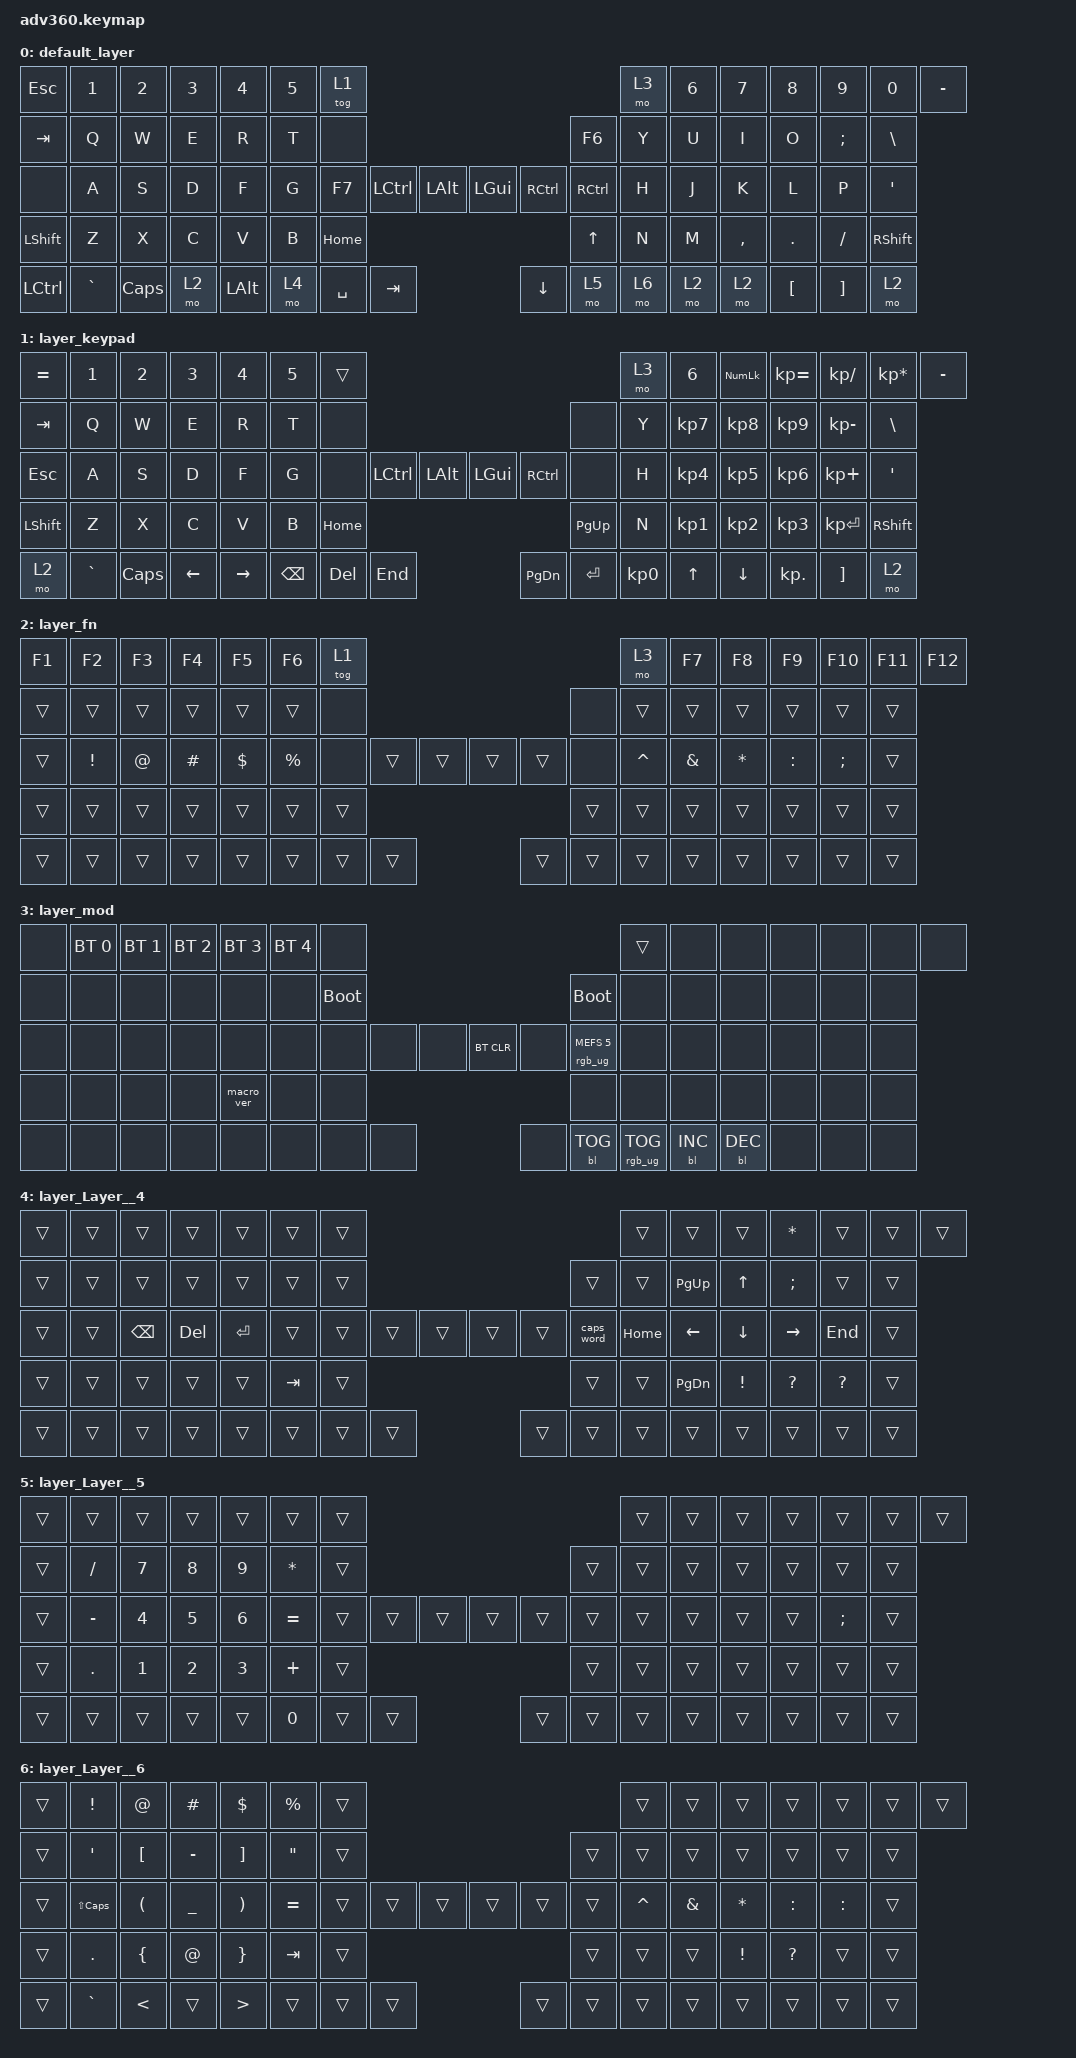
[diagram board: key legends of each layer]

/*
 * Copyright (c) 2020 The ZMK Contributors
 *
 * SPDX-License-Identifier: MIT
 */


/* THIS FILE WAS GENERATED!
 *
 * This file was generated automatically. You may or may not want to
 * edit it directly.
 */

#include <behaviors.dtsi>
#include <dt-bindings/zmk/keys.h>
#include <dt-bindings/zmk/bt.h>
#include <dt-bindings/zmk/rgb.h>
#include <dt-bindings/zmk/backlight.h>

/ {
  behaviors {
    #include "macros.dtsi"
    #include "version.dtsi"

    hm: homerow_mods {
        compatible = "zmk,behavior-hold-tap";
        label = "HOMEROW_MODS";
        #binding-cells = <2>;
        tapping-term-ms = <200>;
        quick_tap_ms = <175>;
        flavor = "tap-preferred";
        bindings = <&kp>, <&kp>;
    };
  };

    keymap {
        compatible = "zmk,keymap";


        default_layer {
            bindings = <
          &kp ESC     &kp N1    &kp N2  &kp N3        &kp N4  &kp N5            &tog 1                                                                &mo 3  &kp N6  &kp N7     &kp N8    &kp N9         &kp N0  &kp MINUS
          &kp TAB      &kp Q     &kp W   &kp E         &kp R   &kp T             &none                                                               &kp F6   &kp Y   &kp U      &kp I     &kp O  &kp SEMICOLON   &kp BSLH
            &none      &kp A     &kp S   &kp D         &kp F   &kp G            &kp F7  &kp LCTRL  &kp LALT                  &kp LGUI  &kp RCTRL  &kp RCTRL   &kp H   &kp J      &kp K     &kp L          &kp P    &kp SQT
        &kp LSHFT      &kp Z     &kp X   &kp C         &kp V   &kp B                               &kp HOME                    &kp UP                         &kp N   &kp M  &kp COMMA   &kp DOT       &kp FSLH  &kp RSHFT
 &kp LEFT_CONTROL  &kp GRAVE  &kp CAPS   &mo 2  &kp LEFT_ALT                     &mo 4  &kp SPACE   &kp TAB                  &kp DOWN      &mo 5      &mo 6           &mo 2      &mo 2  &kp LBKT       &kp RBKT      &mo 2
            >;
        };

        layer_keypad {
            bindings = <
 &kp EQUAL     &kp N1    &kp N2    &kp N3     &kp N4  &kp N5              &trans                                                                 &mo 3  &kp N6  &kp KP_NUM  &kp KP_EQUAL  &kp KP_DIVIDE  &kp KP_MULTIPLY  &kp MINUS
   &kp TAB      &kp Q     &kp W     &kp E      &kp R   &kp T               &none                                                                 &none   &kp Y   &kp KP_N7     &kp KP_N8      &kp KP_N9     &kp KP_MINUS   &kp BSLH
   &kp ESC      &kp A     &kp S     &kp D      &kp F   &kp G               &none  &kp LCTRL  &kp LALT                   &kp LGUI  &kp RCTRL      &none   &kp H   &kp KP_N4     &kp KP_N5      &kp KP_N6      &kp KP_PLUS    &kp SQT
 &kp LSHFT      &kp Z     &kp X     &kp C      &kp V   &kp B                                 &kp HOME                  &kp PG_UP                         &kp N   &kp KP_N1     &kp KP_N2      &kp KP_N3     &kp KP_ENTER  &kp RSHFT
     &mo 2  &kp GRAVE  &kp CAPS  &kp LEFT  &kp RIGHT                    &kp BSPC    &kp DEL   &kp END                  &kp PG_DN  &kp ENTER  &kp KP_N0              &kp UP      &kp DOWN     &kp KP_DOT         &kp RBKT      &mo 2
            >;
        };

        layer_fn {
            bindings = <
 &kp F1           &kp F2       &kp F3    &kp F4      &kp F5       &kp F6            &tog 1                                                   &mo 3     &kp F7         &kp F8        &kp F9    &kp F10        &kp F11  &kp F12
 &trans           &trans       &trans    &trans      &trans       &trans             &none                                                   &none     &trans         &trans        &trans     &trans         &trans   &trans
 &trans  &kp EXCLAMATION  &kp AT_SIGN  &kp HASH  &kp DOLLAR  &kp PERCENT             &none  &trans  &trans                  &trans  &trans   &none  &kp CARET  &kp AMPERSAND  &kp ASTERISK  &kp COLON  &kp SEMICOLON   &trans
 &trans           &trans       &trans    &trans      &trans       &trans                            &trans                  &trans                     &trans         &trans        &trans     &trans         &trans   &trans
 &trans           &trans       &trans    &trans      &trans                         &trans  &trans  &trans                  &trans  &trans  &trans                    &trans        &trans     &trans         &trans   &trans
            >;
        };

        layer_mod {
            bindings = <
  &none  &bt BT_SEL 0  &bt BT_SEL 1  &bt BT_SEL 2  &bt BT_SEL 3  &bt BT_SEL 4                  &none                                                                          &trans   &none       &none       &none   &none   &none   &none
  &none         &none         &none         &none         &none         &none            &bootloader                                                                     &bootloader   &none       &none       &none   &none   &none   &none
  &none         &none         &none         &none         &none         &none                  &none   &none   &none                  &bt BT_CLR       &none  &rgb_ug RGB_MEFS_CMD 5   &none       &none       &none   &none   &none   &none
  &none         &none         &none         &none    &macro_ver         &none                                  &none                       &none                                       &none       &none       &none   &none   &none   &none
  &none         &none         &none         &none         &none                                &none   &none   &none                       &none  &bl BL_TOG         &rgb_ug RGB_TOG          &bl BL_INC  &bl BL_DEC   &none   &none   &none
            >;
        };

        layer_Layer__4 {
            bindings = <
 &trans  &trans         &trans      &trans     &trans   &trans            &trans                                                      &trans    &trans         &trans     &kp ASTERISK         &trans        &trans  &trans
 &trans  &trans         &trans      &trans     &trans   &trans            &trans                                                      &trans    &trans    &kp PAGE_UP           &kp UP  &kp SEMICOLON        &trans  &trans
 &trans  &trans  &kp BACKSPACE  &kp DELETE  &kp ENTER   &trans            &trans  &trans  &trans                  &trans  &trans  &caps_word  &kp HOME       &kp LEFT         &kp DOWN      &kp RIGHT       &kp END  &trans
 &trans  &trans         &trans      &trans     &trans  &kp TAB                            &trans                  &trans                        &trans  &kp PAGE_DOWN  &kp EXCLAMATION   &kp QUESTION  &kp QUESTION  &trans
 &trans  &trans         &trans      &trans     &trans                     &trans  &trans  &trans                  &trans  &trans      &trans                   &trans           &trans         &trans        &trans  &trans
            >;
        };

        layer_Layer__5 {
            bindings = <
 &trans      &trans  &trans  &trans  &trans        &trans            &trans                                                  &trans  &trans  &trans  &trans  &trans         &trans  &trans
 &trans   &kp SLASH  &kp N7  &kp N8  &kp N9  &kp ASTERISK            &trans                                                  &trans  &trans  &trans  &trans  &trans         &trans  &trans
 &trans   &kp MINUS  &kp N4  &kp N5  &kp N6     &kp EQUAL            &trans  &trans  &trans                  &trans  &trans  &trans  &trans  &trans  &trans  &trans  &kp SEMICOLON  &trans
 &trans  &kp PERIOD  &kp N1  &kp N2  &kp N3      &kp PLUS                            &trans                  &trans                  &trans  &trans  &trans  &trans         &trans  &trans
 &trans      &trans  &trans  &trans  &trans                          &kp N0  &trans  &trans                  &trans  &trans  &trans          &trans  &trans  &trans         &trans  &trans
            >;
        };

        layer_Layer__6 {
            bindings = <
 &trans   &kp EXCLAMATION           &kp AT_SIGN        &kp HASH             &kp DOLLAR        &kp PERCENT            &trans                                                  &trans     &trans    &trans           &trans        &trans     &trans  &trans
 &trans  &kp SINGLE_QUOTE      &kp LEFT_BRACKET       &kp MINUS      &kp RIGHT_BRACKET  &kp DOUBLE_QUOTES            &trans                                                  &trans     &trans    &trans           &trans        &trans     &trans  &trans
 &trans      &kp LS(CAPS)  &kp LEFT_PARENTHESIS  &kp UNDERSCORE  &kp RIGHT_PARENTHESIS          &kp EQUAL            &trans  &trans  &trans                  &trans  &trans  &trans  &kp CARET  &kp AMPS        &kp ASTRK     &kp COLON  &kp COLON  &trans
 &trans        &kp PERIOD        &kp LEFT_BRACE     &kp AT_SIGN        &kp RIGHT_BRACE            &kp TAB                            &trans                  &trans                     &trans    &trans  &kp EXCLAMATION  &kp QUESTION     &trans  &trans
 &trans         &kp GRAVE         &kp LESS_THAN          &trans       &kp GREATER_THAN                               &trans  &trans  &trans                  &trans  &trans  &trans               &trans           &trans        &trans     &trans  &trans
            >;
        };

    };
};
